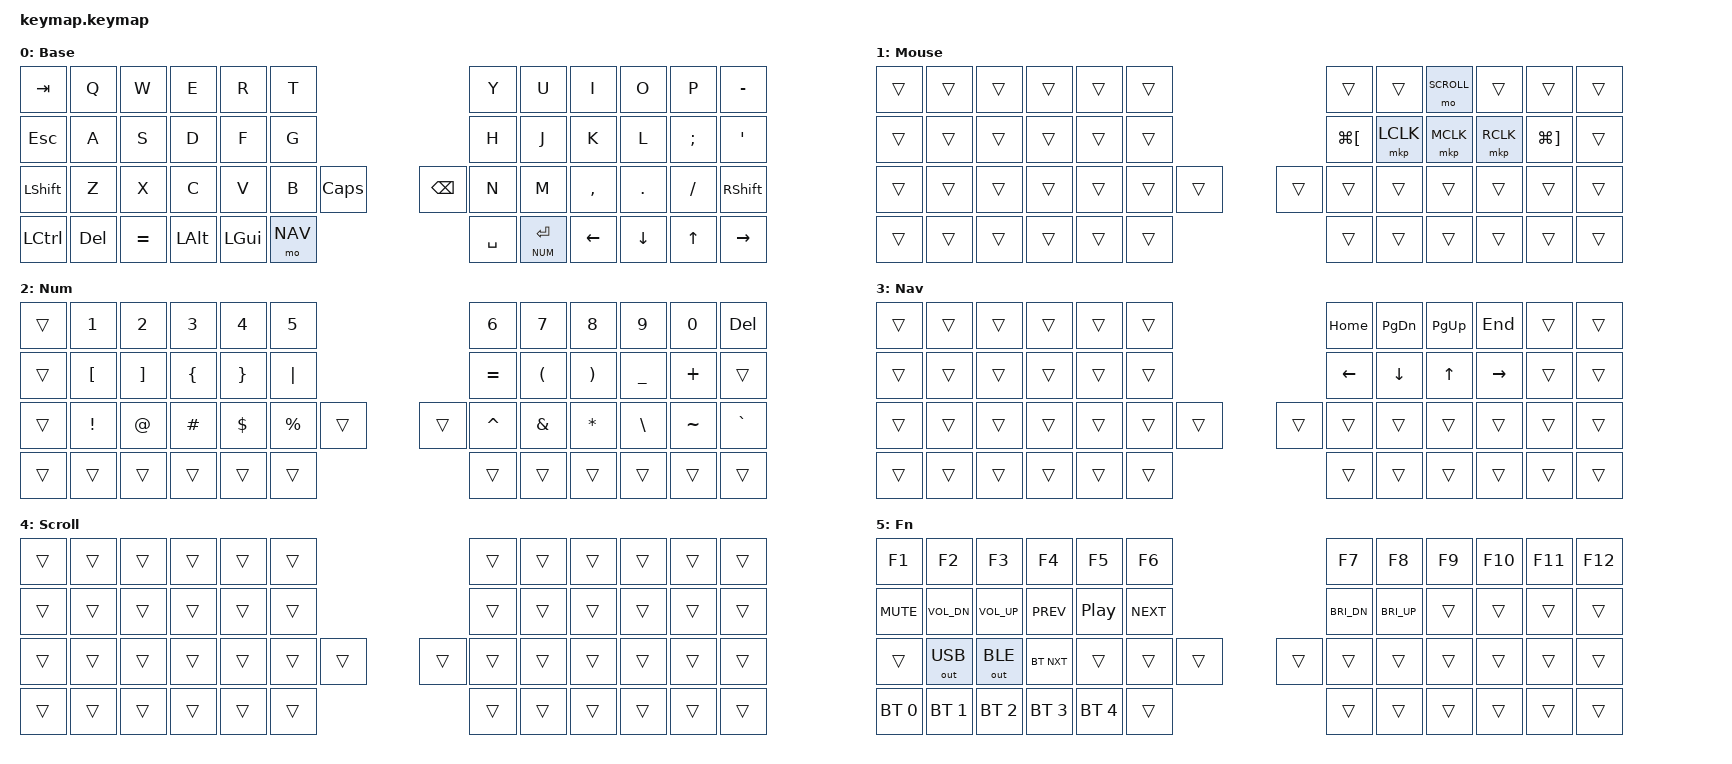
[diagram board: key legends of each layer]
#include <behaviors.dtsi>
#include <dt-bindings/zmk/bt.h>
#include <dt-bindings/zmk/keys.h>
#include <dt-bindings/zmk/outputs.h>
#include <dt-bindings/zmk/pointing.h>

// Layer indices. MOUSE (1) and SCROLL (4) are fixed: the input-listener
// overlays in boards/ and snippets/ refer to them by number.
#define BASE   0
#define MOUSE  1
#define NUM    2
#define NAV    3
#define SCROLL 4
#define FN     5

// Key positions (4 rows: 12 / 12 / 14 / 12 keys)
//  0  1  2  3  4  5                   6  7  8  9 10 11
// 12 13 14 15 16 17                  18 19 20 21 22 23
// 24 25 26 27 28 29 30            31 32 33 34 35 36 37
// 38 39 40 41 42 43 44            45 46 47 48 49

/ {
    behaviors {
        // Enter on tap, NUM layer on hold. Only hold-tap key in the keymap.
        // require-prior-idle-ms: a press within 150 ms of the previous key is
        // always a tap, so fast typing never triggers the layer by mistake.
        lt_enter: lt_enter {
            compatible = "zmk,behavior-hold-tap";
            #binding-cells = <2>;
            flavor = "balanced";
            tapping-term-ms = <200>;
            quick-tap-ms = <200>;
            require-prior-idle-ms = <150>;
            bindings = <&mo>, <&kp>;
        };
    };

    conditional_layers {
        compatible = "zmk,conditional-layers";

        // Hold NAV (left thumb) and NUM (right thumb) together for FN.
        tri_fn {
            if-layers = <NAV NUM>;
            then-layer = <FN>;
        };
    };

    combos {
        compatible = "zmk,combos";

        // Bluetooth clearing lives only on the FN layer and needs two
        // far-apart keys at once, so it cannot happen by accident.
        bt_clear {
            bindings = <&bt BT_CLR>;
            key-positions = <0 11>;
            layers = <FN>;
        };

        bt_clear_all {
            bindings = <&bt BT_CLR_ALL>;
            key-positions = <12 23>;
            layers = <FN>;
        };
    };

    keymap {
        compatible = "zmk,keymap";

        base_layer {
            display-name = "Base";
            bindings = <
&kp TAB    &kp Q    &kp W      &kp E     &kp R     &kp T                                           &kp Y  &kp U    &kp I     &kp O     &kp P     &kp MINUS
&kp ESC    &kp A    &kp S      &kp D     &kp F     &kp G                                           &kp H  &kp J    &kp K     &kp L     &kp SEMI  &kp SQT
&kp LSHFT  &kp Z    &kp X      &kp C     &kp V     &kp B      &kp CAPS            &kp BSPC         &kp N  &kp M    &kp COMMA &kp DOT   &kp FSLH  &kp RSHFT
&kp LCTRL  &kp DEL  &kp EQUAL  &kp LALT  &kp LGUI  &mo NAV    &kp SPACE           &lt_enter NUM RET                  &kp LEFT  &kp DOWN  &kp UP    &kp RIGHT
            >;
        };

        mouse_layer {
            display-name = "Mouse";
            bindings = <
&trans  &trans  &trans  &trans  &trans  &trans                                     &trans         &trans     &mo SCROLL  &trans     &trans         &trans
&trans  &trans  &trans  &trans  &trans  &trans                                     &kp LG(LBKT)   &mkp LCLK  &mkp MCLK   &mkp RCLK  &kp LG(RBKT)   &trans
&trans  &trans  &trans  &trans  &trans  &trans  &trans                   &trans    &trans         &trans     &trans      &trans     &trans         &trans
&trans  &trans  &trans  &trans  &trans  &trans  &trans                   &trans                               &trans      &trans     &trans         &trans
            >;
        };

        num_layer {
            display-name = "Num";
            bindings = <
&trans  &kp N1    &kp N2  &kp N3    &kp N4    &kp N5                               &kp N6     &kp N7    &kp N8     &kp N9    &kp N0     &kp DEL
&trans  &kp LBKT  &kp RBKT &kp LBRC &kp RBRC  &kp PIPE                             &kp EQUAL  &kp LPAR  &kp RPAR   &kp UNDER &kp PLUS   &trans
&trans  &kp EXCL  &kp AT  &kp HASH  &kp DLLR  &kp PRCNT  &trans           &trans   &kp CARET  &kp AMPS  &kp ASTRK  &kp BSLH  &kp TILDE  &kp GRAVE
&trans  &trans    &trans  &trans    &trans    &trans     &trans           &trans                        &trans     &trans    &trans     &trans
            >;
        };

        nav_layer {
            display-name = "Nav";
            bindings = <
&trans  &trans  &trans  &trans  &trans  &trans                                     &kp HOME  &kp PG_DN  &kp PG_UP  &kp END    &trans  &trans
&trans  &trans  &trans  &trans  &trans  &trans                                     &kp LEFT  &kp DOWN   &kp UP     &kp RIGHT  &trans  &trans
&trans  &trans  &trans  &trans  &trans  &trans  &trans                   &trans    &trans    &trans     &trans     &trans     &trans  &trans
&trans  &trans  &trans  &trans  &trans  &trans  &trans                   &trans                         &trans     &trans     &trans  &trans
            >;
        };

        scroll_layer {
            display-name = "Scroll";
            bindings = <
&trans  &trans  &trans  &trans  &trans  &trans                                     &trans  &trans  &trans  &trans  &trans  &trans
&trans  &trans  &trans  &trans  &trans  &trans                                     &trans  &trans  &trans  &trans  &trans  &trans
&trans  &trans  &trans  &trans  &trans  &trans  &trans                   &trans    &trans  &trans  &trans  &trans  &trans  &trans
&trans  &trans  &trans  &trans  &trans  &trans  &trans                   &trans                  &trans  &trans  &trans  &trans
            >;
        };

        fn_layer {
            display-name = "Fn";
            bindings = <
&kp F1        &kp F2        &kp F3        &kp F4        &kp F5        &kp F6                     &kp F7         &kp F8         &kp F9  &kp F10  &kp F11  &kp F12
&kp C_MUTE    &kp C_VOL_DN  &kp C_VOL_UP  &kp C_PREV    &kp C_PP      &kp C_NEXT                 &kp C_BRI_DN   &kp C_BRI_UP   &trans  &trans   &trans   &trans
&trans        &out OUT_USB  &out OUT_BLE  &bt BT_NXT    &trans        &trans      &trans  &trans &trans         &trans         &trans  &trans   &trans   &trans
&bt BT_SEL 0  &bt BT_SEL 1  &bt BT_SEL 2  &bt BT_SEL 3  &bt BT_SEL 4  &trans      &trans  &trans                               &trans  &trans   &trans   &trans
            >;
        };
    };
};
